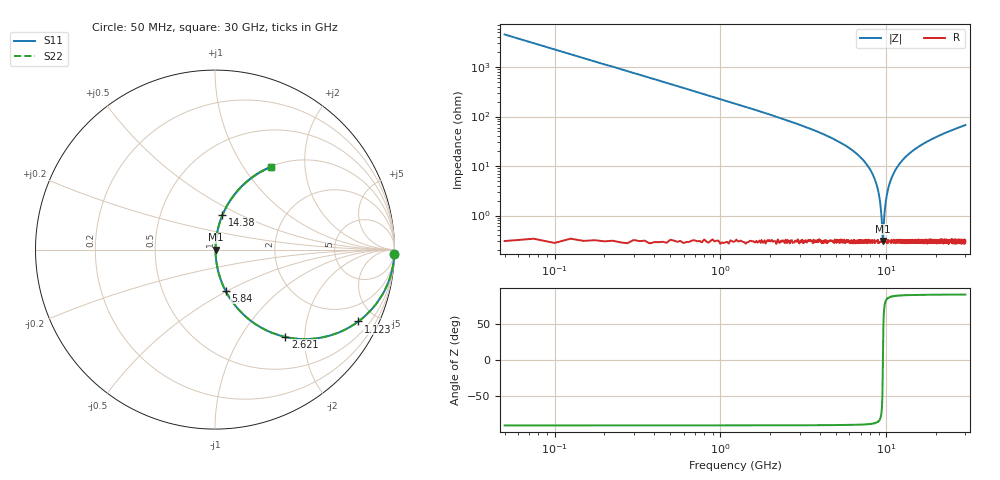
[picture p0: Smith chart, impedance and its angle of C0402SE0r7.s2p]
!	AVX Thin Film Operation 	Date: April 2014
!	Description: Accu-P® Series, Thin Film  SMD RF Capacitor
!	Part Number: 04021J0R7PBSTR
# MHZ S MA R 50
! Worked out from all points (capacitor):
!   1201 points, 50 MHz to 30 GHz, reference 50 ohm
!   read as one part in series: C = 700 fF near 199.8 MHz
!   lowest |Z| = 306 mohm at 9.534 GHz (marker M1)
!   series resonance near 9.545 GHz, so ESL is about 400 pH
!   S11 on the Smith chart (normalised r, x): 50 MHz: -0, -91; 1.123 GHz: 1.00, -3.99; 2.621 GHz: 1.01, -1.61; 5.84 GHz: 1.01, -0.49; 14.38 GHz: 1.01, +0.40; 30 GHz: 1.01, +1.35
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50  1 -1.3  0.022 88.7  0.022 88.7  1 -1.3
249.667  0.994 -6.3  0.109 83.7  0.109 83.7  0.994 -6.3
424.375  0.983 -10.6  0.184 79.4  0.184 79.4  0.983 -10.6
1123.208  0.894 -26.6  0.448 63.3  0.448 63.3  0.894 -26.6
2620.708  0.625 -51.1  0.779 38.7  0.779 38.7  0.625 -51.1
5041.667  0.308 -71.5  0.948 18.0  0.948 18.0  0.308 -71.5
5840.333  0.236 -75.6  0.969 13.6  0.969 13.6  0.236 -75.6
7512.542  0.114 -82.0  0.99 6.6  0.99 6.6  0.114 -82.0
8535.833  0.053 -83.7  0.996 3.0  0.996 3.0  0.053 -83.7
9134.833  0.021 -80.7  0.997 1.2  0.997 1.2  0.021 -80.7
9459.292  0.005248 -55.0  0.997 0.2  0.997 0.2  0.005248 -55.0
9534.167  0.003045 -10.7  0.997 0.0  0.997 0.0  0.003045 -10.7
9634  0.005304 55.4  0.997 -0.3  0.997 -0.3  0.005304 55.4
9833.667  0.014 77.2  0.997 -0.8  0.997 -0.8  0.014 77.2
10058.29  0.025 81.7  0.997 -1.4  0.997 -1.4  0.025 81.7
10632.33  0.051 83.7  0.996 -2.9  0.996 -2.9  0.051 83.7
11431  0.086 83.1  0.993 -4.9  0.993 -4.9  0.086 83.1
14376.08  0.196 77.8  0.978 -11.3  0.978 -11.3  0.196 77.8
15025  0.218 76.7  0.973 -12.6  0.973 -12.6  0.218 76.7
20016.67  0.359 68.5  0.931 -21.0  0.931 -21.0  0.359 68.5
25033.29  0.47 61.7  0.88 -28.0  0.88 -28.0  0.47 61.7
30000  0.557 55.9  0.828 -33.9  0.828 -33.9  0.557 55.9
